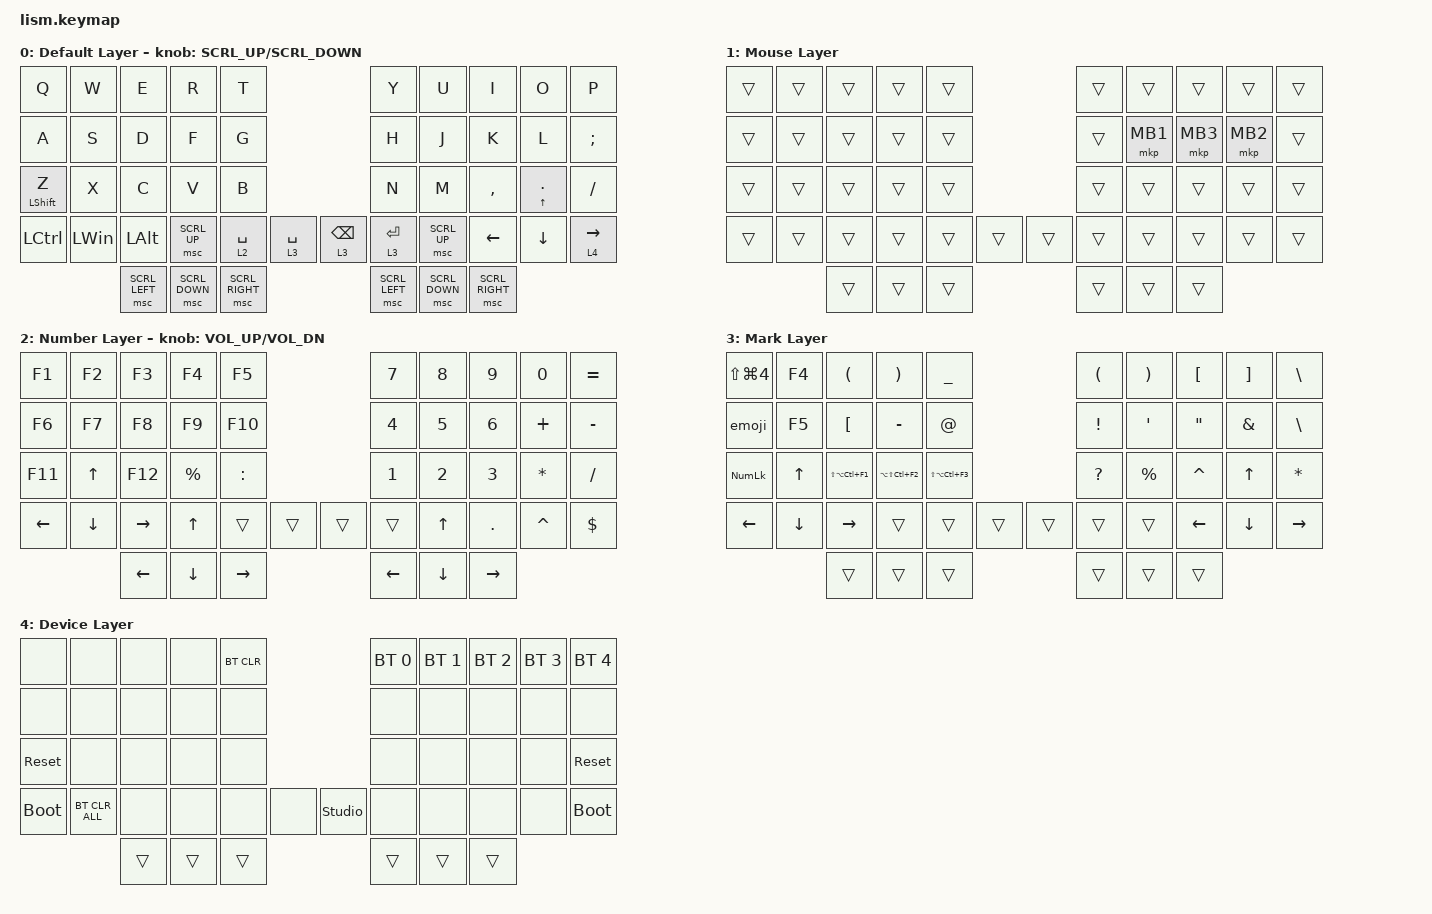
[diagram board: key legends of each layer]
#define ZMK_POINTING_DEFAULT_SCRL_VAL 200

#include <dt-bindings/zmk/mouse.h>
#include <behaviors.dtsi>
#include <dt-bindings/zmk/bt.h>
#include <dt-bindings/zmk/keys.h>
#include <dt-bindings/zmk/pointing.h>

&mt {
    tapping-term-ms = <300>;
    flavor = "balanced";
};

&lt { quick-tap-ms = <300>; };

/ {
    macros {
        emoji: emoji_macro {
            compatible = "zmk,behavior-macro";
            label = "EMOJI";
            #binding-cells = <0>;
            bindings =
                <&macro_press>,
                <&kp CAPSLOCK>,
                <&macro_tap>,
                <&kp E>,
                <&macro_release>,
                <&kp CAPSLOCK>;
        };
    };

    behaviors {
        bs_lang1: backspace_lang1 {
            compatible = "zmk,behavior-hold-tap";
            #binding-cells = <2>;
            flavor = "balanced";
            tapping-term-ms = <300>;
            quick-tap-ms = <300>;
            bindings = <&kp>, <&kp>;

            display-name = "Backspace-LANG1";
        };

        encoder_msc: sensor_rotate_msc {
            compatible = "zmk,behavior-sensor-rotate-var";
            #sensor-binding-cells = <2>;
            bindings = <&msc>, <&msc>;

            tap-ms = <20>;
        };

        encoder_kp: sensor_rotate_kp {
            compatible = "zmk,behavior-sensor-rotate-var";
            #sensor-binding-cells = <2>;
            bindings = <&kp>, <&kp>;
        };
    };

    combos {
        compatible = "zmk,combos";

        ESC_combo {
            bindings = <&kp ESCAPE>;
            key-positions = <1 0>;
        };

        TAB_combo {
            bindings = <&kp TAB>;
            key-positions = <10 11>;
        };

        DEL_combo {
            bindings = <&kp DEL>;
            key-positions = <8 9>;
        };

        mouse {
            bindings = <&mo 1>;
            key-positions = <36 37>;
        };

        layer3 {
            bindings = <&mo 3>;
            key-positions = <34 35>;
        };

        yazirushi {
            bindings = <&tog 3>;
            key-positions = <41 40>;
        };

        shift {
            bindings = <&kp LEFT_SHIFT>;
            key-positions = <5 6>;
        };

        ENG {
            bindings = <&kp LANG2>;
            key-positions = <35 13>;
        };

        JAP {
            bindings = <&kp LANG1>;
            key-positions = <36 16>;
        };
    };

    keymap {
        compatible = "zmk,keymap";

        default_layer {
            display-name = "Default Layer";
            bindings = <
&kp Q             &kp W         &kp E           &kp R           &kp T                                            &kp Y           &kp U           &kp I            &kp O             &kp P
&kp A             &kp S         &kp D           &kp F           &kp G                                            &kp H           &kp J           &kp K            &kp L             &kp SEMI
&mt LEFT_SHIFT Z  &kp X         &kp C           &kp V           &kp B                                            &kp N           &kp M           &kp COMMA        &mt UP_ARROW DOT  &kp SLASH
&kp LCTRL         &kp LEFT_WIN  &kp LEFT_ALT    &msc SCRL_UP    &lt 2 SPACE      &lt 3 SPACE    &lt 3 BACKSPACE  &lt 3 ENTER     &msc SCRL_UP    &kp LEFT         &kp DOWN          &lt 4 RIGHT
                                &msc SCRL_LEFT  &msc SCRL_DOWN  &msc SCRL_RIGHT                                  &msc SCRL_LEFT  &msc SCRL_DOWN  &msc SCRL_RIGHT
            >;

            sensor-bindings = <&encoder_msc SCRL_UP SCRL_DOWN>;
        };

        layer_1 {
            display-name = "Mouse Layer";
            bindings = <
&trans  &trans  &trans  &trans  &trans                    &trans  &trans    &trans    &trans    &trans
&trans  &trans  &trans  &trans  &trans                    &trans  &mkp MB1  &mkp MB3  &mkp MB2  &trans
&trans  &trans  &trans  &trans  &trans                    &trans  &trans    &trans    &trans    &trans
&trans  &trans  &trans  &trans  &trans  &trans    &trans  &trans  &trans    &trans    &trans    &trans
                &trans  &trans  &trans                    &trans  &trans    &trans
            >;
        };

        layer_2 {
            display-name = "Number Layer";
            bindings = <
&kp F1    &kp F2    &kp F3     &kp F4       &kp F5                       &kp NUMBER_7  &kp NUMBER_8  &kp NUMBER_9  &kp NUMBER_0  &kp EQUAL
&kp F6    &kp F7    &kp F8     &kp F9       &kp F10                      &kp NUMBER_4  &kp NUMBER_5  &kp NUMBER_6  &kp PLUS      &kp MINUS
&kp F11   &kp UP    &kp F12    &kp PERCENT  &kp COLON                    &kp NUMBER_1  &kp NUMBER_2  &kp NUMBER_3  &kp ASTRK     &kp SLASH
&kp LEFT  &kp DOWN  &kp RIGHT  &kp UP       &trans     &trans    &trans  &trans        &kp UP        &kp DOT       &kp CARET     &kp DOLLAR
                    &kp LEFT   &kp DOWN     &kp RIGHT                    &kp LEFT      &kp DOWN      &kp RIGHT
            >;

            sensor-bindings = <&encoder_kp C_VOL_UP C_VOL_DN>;
        };

        layer_3 {
            display-name = "Mark Layer";
            bindings = <
&kp LS(LG(N4))  &kp F4          &kp LEFT_PARENTHESIS  &kp RIGHT_PARENTHESIS  &kp UNDER                             &kp LEFT_PARENTHESIS  &kp RIGHT_PARENTHESIS  &kp LEFT_BRACKET   &kp RIGHT_BRACKET  &kp BACKSLASH
&emoji          &kp F5          &kp LEFT_BRACKET      &kp MINUS              &kp AT                                &kp EXCL              &kp SINGLE_QUOTE       &kp DOUBLE_QUOTES  &kp AMPERSAND      &kp BACKSLASH
&kp KP_NUMLOCK  &kp UP_ARROW    &kp LS(LA(LC(F1)))    &kp LA(LS(LC(F2)))     &kp LS(LA(LC(F3)))                    &kp QUESTION          &kp PERCENT            &kp CARET          &kp UP_ARROW       &kp ASTERISK
&kp LEFT_ARROW  &kp DOWN_ARROW  &kp RIGHT_ARROW       &trans                 &trans              &trans    &trans  &trans                &trans                 &kp LEFT_ARROW     &kp DOWN_ARROW     &kp RIGHT_ARROW
                                &trans                &trans                 &trans                                &trans                &trans                 &trans
            >;
        };

        layer_4 {
            display-name = "Device Layer";
            bindings = <
&none        &none           &none   &none   &bt BT_CLR                           &bt BT_SEL 0  &bt BT_SEL 1  &bt BT_SEL 2  &bt BT_SEL 3  &bt BT_SEL 4
&none        &none           &none   &none   &none                                &none         &none         &none         &none         &none
&sys_reset   &none           &none   &none   &none                                &none         &none         &none         &none         &sys_reset
&bootloader  &bt BT_CLR_ALL  &none   &none   &none       &none    &studio_unlock  &none         &none         &none         &none         &bootloader
                             &trans  &trans  &trans                               &trans        &trans        &trans
            >;
        };

        layer_5 {
            status = "reserved";
            display-name = "Brank Layer";
            bindings = <
&trans          &trans          &trans           &trans  &trans                    &trans  &trans  &trans          &trans          &trans
&trans          &trans          &trans           &trans  &trans                    &trans  &trans  &trans          &trans          &trans
&trans          &kp UP_ARROW    &trans           &trans  &trans                    &trans  &trans  &trans          &kp UP_ARROW    &trans
&kp LEFT_ARROW  &kp DOWN_ARROW  &kp RIGHT_ARROW  &trans  &trans  &trans    &trans  &trans  &trans  &kp LEFT_ARROW  &kp DOWN_ARROW  &kp RIGHT_ARROW
                                &trans           &trans  &trans                    &trans  &trans  &trans
            >;
        };

        layer_6 {
            status = "reserved";
            display-name = "Brank Layer";
            bindings = <
&trans  &trans  &trans  &trans  &trans                    &trans  &trans  &trans  &trans  &trans
&trans  &trans  &trans  &trans  &trans                    &trans  &trans  &trans  &trans  &trans
&trans  &trans  &trans  &trans  &trans                    &trans  &trans  &trans  &trans  &trans
&trans  &trans  &trans  &trans  &trans  &trans    &trans  &trans  &trans  &trans  &trans  &trans
                &trans  &trans  &trans                    &trans  &trans  &trans
            >;
        };

        layer_7 {
            status = "reserved";
            display-name = "Brank Layer";
            bindings = <
&trans  &trans  &trans  &trans  &trans                    &trans  &trans  &trans  &trans  &trans
&trans  &trans  &trans  &trans  &trans                    &trans  &trans  &trans  &trans  &trans
&trans  &trans  &trans  &trans  &trans                    &trans  &trans  &trans  &trans  &trans
&trans  &trans  &trans  &trans  &trans  &trans    &trans  &trans  &trans  &trans  &trans  &trans
                &trans  &trans  &trans                    &trans  &trans  &trans
            >;
        };
    };
};
